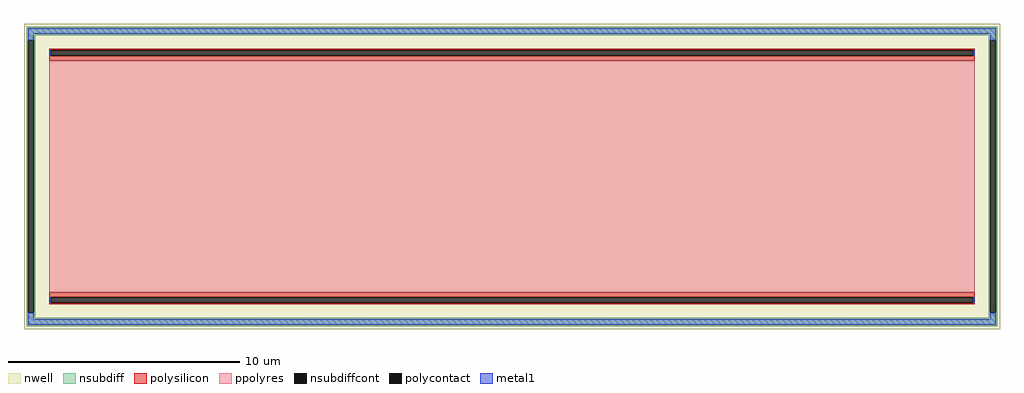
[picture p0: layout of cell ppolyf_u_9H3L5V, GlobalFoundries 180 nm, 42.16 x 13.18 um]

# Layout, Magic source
magic
tech gf180mcuD
magscale 1 10
<< nwell >>
rect -4216 -1318 4216 1318
<< nsubdiff >>
rect -4192 1222 4192 1294
rect -4192 1178 -4120 1222
rect -4192 -1178 -4179 1178
rect -4133 -1178 -4120 1178
rect 4120 1178 4192 1222
rect -4192 -1222 -4120 -1178
rect 4120 -1178 4133 1178
rect 4179 -1178 4192 1178
rect 4120 -1222 4192 -1178
rect -4192 -1294 4192 -1222
<< nsubdiffcont >>
rect -4179 -1178 -4133 1178
rect 4133 -1178 4179 1178
<< polysilicon >>
rect -4000 1089 4000 1102
rect -4000 1043 -3987 1089
rect 3987 1043 4000 1089
rect -4000 1000 4000 1043
rect -4000 -1043 4000 -1000
rect -4000 -1089 -3987 -1043
rect 3987 -1089 4000 -1043
rect -4000 -1102 4000 -1089
<< polycontact >>
rect -3987 1043 3987 1089
rect -3987 -1089 3987 -1043
<< ppolyres >>
rect -4000 -1000 4000 1000
<< metal1 >>
rect -4179 1235 4179 1281
rect -4179 1178 -4133 1235
rect 4133 1178 4179 1235
rect -3998 1043 -3987 1089
rect 3987 1043 3998 1089
rect -3998 -1089 -3987 -1043
rect 3987 -1089 3998 -1043
rect -4179 -1235 -4133 -1178
rect 4133 -1235 4179 -1178
rect -4179 -1281 4179 -1235
<< properties >>
string FIXED_BBOX -4156 -1258 4156 1258
string gencell ppolyf_u
string library gf180mcu
string parameters w 40 l 10 m 1 nx 1 wmin 0.80 lmin 1.00 class resistor rho 315 val 78.888 dummy 0 dw 0.07 term 0.0 sterm 0.0 caplen 0.4 snake 0 glc 1 grc 1 gtc 0 gbc 0 roverlap 0 endcov 100 full_metal 1
string ppolyf_u_9H3L5V parameters
<< end >>
